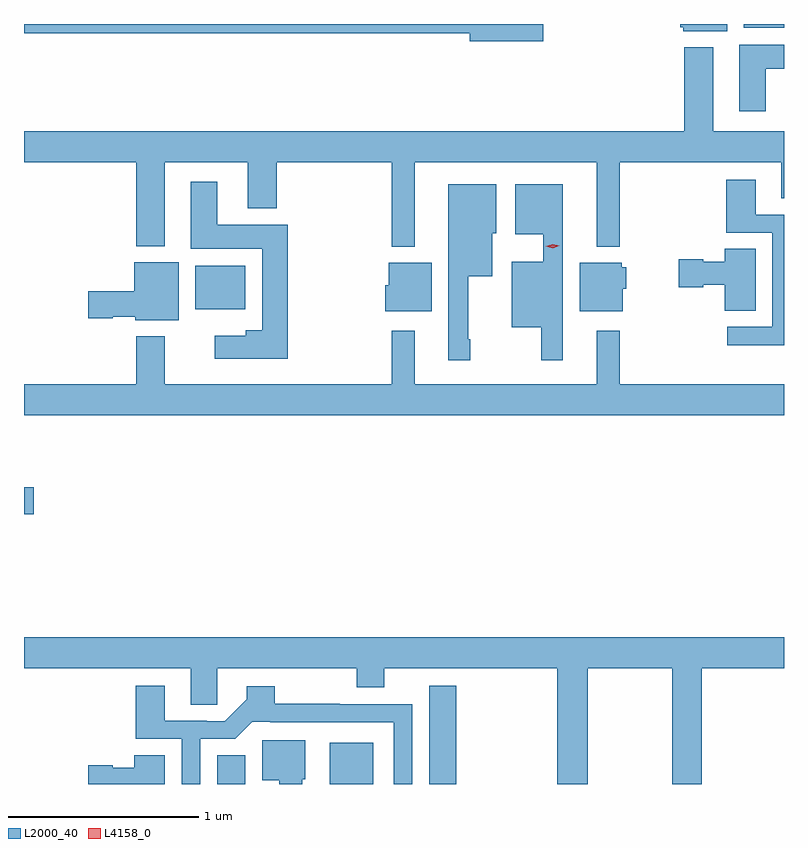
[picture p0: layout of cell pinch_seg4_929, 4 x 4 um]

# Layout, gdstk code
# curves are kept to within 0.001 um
import gdstk
lib = gdstk.Library(unit=1e-6, precision=1e-09)
def R(c, l, rs):  # rectangles x0, y0, x1, y1
    for r in rs: c.add(gdstk.rectangle(r[:2], r[2:], *l))
def P(c, l, *ps):  # polygons
    for p in ps: c.add(gdstk.Polygon(p, *l))
L2000_40 = (2000, 40)
L4158_0 = (4158, 0)

pinch_seg4_929 = lib.new_cell('pinch_seg4_929')
R(pinch_seg4_929, L2000_40, [(658.853,782.892,659.002,783.044), (659.447,782.892,659.674,783.109), (659.969,782.892,660.113,783.409), (657.837,784.313,657.889,784.455), (658.739,785.39,659.002,785.62), (661.625,786.872,661.837,786.892)])
P(pinch_seg4_929, L2000_40, [(661.537,786.892),(661.292,786.892),(661.292,786.876),(661.308,786.876),(661.308,786.854),(661.537,786.854)],
  [(660.571,786.892),(657.837,786.892),(657.837,786.844),(660.182,786.844),(660.182,786.802),(660.571,786.802)],
  [(661.741,786.656),(661.837,786.656),(661.837,786.784),(661.601,786.784),(661.601,786.432),(661.741,786.432)],
  [(659.893,786.164),(660.851,786.164),(660.851,785.72),(660.973,785.72),(660.973,786.164),(661.823,786.164),(661.823,785.974),(661.837,785.974),(661.837,786.328),(661.465,786.328),(661.465,786.769),(661.313,786.769),(661.313,786.328),(657.837,786.328),(657.837,786.164),(658.427,786.164),(658.427,785.723),(658.579,785.723),(658.579,786.164),(659.015,786.164),(659.015,785.921),(659.168,785.921),(659.168,786.164),(659.772,786.164),(659.772,785.72),(659.893,785.72)],
  [(661.837,785.889),(661.687,785.889),(661.687,786.073),(661.532,786.073),(661.532,785.793),(661.776,785.793),(661.776,785.298),(661.539,785.298),(661.539,785.201),(661.837,785.201)],
  [(659.225,785.836),(658.855,785.836),(658.855,786.061),(658.715,786.061),(658.715,785.708),(659.09,785.708),(659.09,785.281),(659.003,785.281),(659.003,785.251),(658.842,785.251),(658.842,785.129),(659.225,785.129)],
  [(660.185,785.233),(660.175,785.233),(660.175,785.564),(660.301,785.564),(660.301,785.79),(660.322,785.79),(660.322,786.049),(660.071,786.049),(660.071,785.121),(660.185,785.121)],
  [(660.673,786.049),(660.422,786.049),(660.422,785.786),(660.569,785.786),(660.569,785.641),(660.404,785.641),(660.404,785.297),(660.559,785.297),(660.559,785.121),(660.673,785.121)],
  [(661.687,785.708),(661.526,785.708),(661.526,785.641),(661.413,785.641),(661.413,785.654),(661.284,785.654),(661.284,785.507),(661.413,785.507),(661.413,785.519),(661.526,785.519),(661.526,785.383),(661.687,785.383)],
  [(658.651,785.638),(658.418,785.638),(658.418,785.486),(658.176,785.486),(658.176,785.344),(658.305,785.344),(658.305,785.351),(658.422,785.351),(658.422,785.333),(658.651,785.333)],
  [(660.988,785.499),(661.006,785.499),(661.006,785.613),(660.984,785.613),(660.984,785.635),(660.761,785.635),(660.761,785.381),(660.988,785.381)],
  [(659.983,785.635),(659.756,785.635),(659.756,785.517),(659.738,785.517),(659.738,785.381),(659.983,785.381)],
  [(661.837,784.996),(660.973,784.996),(660.973,785.278),(660.851,785.278),(660.851,784.996),(659.893,784.996),(659.893,785.278),(659.772,785.278),(659.772,784.996),(658.579,784.996),(658.579,785.248),(658.427,785.248),(658.427,784.996),(657.837,784.996),(657.837,784.832),(661.837,784.832)],
  [(660.804,783.5),(661.249,783.5),(661.249,782.892),(661.404,782.892),(661.404,783.5),(661.837,783.5),(661.837,783.664),(657.837,783.664),(657.837,783.5),(658.715,783.5),(658.715,783.31),(658.854,783.31),(658.854,783.5),(659.587,783.5),(659.587,783.401),(659.734,783.401),(659.734,783.5),(660.644,783.5),(660.644,782.892),(660.804,782.892)],
  [(658.764,783.129),(658.948,783.129),(659.038,783.219),(659.134,783.219),(659.134,783.216),(659.783,783.216),(659.784,782.892),(659.88,782.892),(659.88,783.312),(659.498,783.312),(659.498,783.314),(659.157,783.314),(659.157,783.406),(659.009,783.406),(659.009,783.338),(658.893,783.222),(658.799,783.222),(658.799,783.225),(658.579,783.225),(658.579,783.409),(658.424,783.409),(658.424,783.129),(658.668,783.129),(658.668,782.892),(658.764,782.892)],
  [(659.302,782.916),(659.317,782.916),(659.317,783.121),(659.09,783.121),(659.09,782.912),(659.18,782.912),(659.18,782.892),(659.302,782.892)],
  [(658.579,783.044),(658.418,783.044),(658.418,782.977),(658.305,782.977),(658.305,782.99),(658.176,782.99),(658.176,782.892),(658.579,782.892)])
P(pinch_seg4_929, L4158_0, [(660.619,785.713),(660.583,785.721),(660.583,785.722),(660.583,785.722),(660.619,785.733),(660.655,785.724),(660.655,785.724),(660.655,785.724)])

lib.write_gds('pinch_seg4_929.gds')
